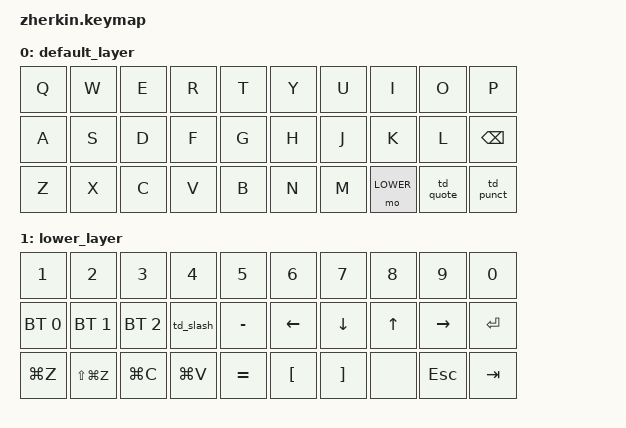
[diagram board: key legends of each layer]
#include <behaviors.dtsi>
#include <dt-bindings/zmk/keys.h>
#include <dt-bindings/zmk/bt.h>
#include <dt-bindings/zmk/outputs.h>


#define DEFAULT 0
#define LOWER 1

#define QUESTION_MARK LS(SLASH)
#define EXCLAMATION_MARK LS(N1)
#define PIPE LS(BSLH)
#define TILDE LS(GRAVE)

/ {
    behaviors {
        td_punct: td_punct {
            compatible = "zmk,behavior-tap-dance";
            #binding-cells = <0>;
            tapping-term-ms = <200>;
            bindings = <&kp DOT>, <&kp COMMA>, <&kp QUESTION_MARK>, <&kp EXCLAMATION_MARK>;
            // 1 tap: . (period)
            // 2 taps: , (comma)
            // 3 taps: ? (question mark, Shift + /)
            // 4 taps: ! (exclamation mark, Shift + 1)
        };
        td_quote: td_quote {
            compatible = "zmk,behavior-tap-dance";
            #binding-cells = <0>;
            tapping-term-ms = <200>;
            bindings = <&kp SQT>, <&kp DQT>, <&kp COLON>, <&kp SEMI>;
            // 1 tap: ' (single quote)
            // 2 taps: " (double quote)
            // 3 taps: : (colon)
            // 4 taps: ; (semicolon)
        };
        td_slash: td_slash {
            compatible = "zmk,behavior-tap-dance";
            #binding-cells = <0>;
            tapping-term-ms = <200>;
            bindings = <&kp SLASH>, <&kp BSLH>, <&kp PIPE>, <&kp TILDE>;
            // 1 tap: / (slash)
            // 2 taps: \ (backslash)
            // 3 taps: | (pipe, Shift + \)
            // 4 taps: ~ (tilde, Shift + grave)
        };

        combos {
            compatible = "zmk,combos";

            combo_shift {
                timeout-ms = <30>;
                key-positions = <19 29>;
                bindings = <&kp LSHIFT>;
            };

            combo_space_np {
                timeout-ms = <30>;
                key-positions = <25 9>;
                bindings = <&kp SPACE>;
            };
            combo_space_nm {
                timeout-ms = <30>;
                key-positions = <25 26>;
                bindings = <&kp SPACE>;
            };
            combo_space_bn {
                timeout-ms = <30>;
                key-positions = <24 25>;
                bindings = <&kp SPACE>;
            };
            combo_space_vb {
                timeout-ms = <30>;
                key-positions = <23 24>;
                bindings = <&kp SPACE>;
            };
        };
    };

    keymap {
        compatible = "zmk,keymap";


        default_layer {
            // --------------------------------------------------------------------------------------------------------------------------------------------------------------------
            // |   ESC   |    Q    |    W    |    E    |    R    |    T    |                                          |    Y    |    U    |    I    |    O    |    P    |    \    |
            // |   TAB   |    A    |    S    |    D    |    F    |    G    |                                          |    H    |    J    |    K    |    L    |    ;    |    '    |
            // |  SHIFT  |    Z    |    X    |    C    |    V    |    B    | CTRL+A  | CTRL+C  |  |  CTRL+V |  CTRL+X |    N    |    M    |    ,    |    .    |    /    |  R CTRL |
            //                               |   GUI   |   DEL   | RETURN  |  SPACE  | ESCAPE  |  |  RETURN |  SPACE  |   TAB   |   BSPC  |  R ALT  |

            bindings = <
&kp  Q	&kp  W	&kp  E	&kp  R	&kp  T	&kp  Y	&kp  U	&kp  I	&kp  O	&kp  P
&kp  A	&kp  S	&kp  D	&kp  F	&kp  G	&kp  H	&kp  J	&kp  K	&kp  L	&kp BSPC 
&kp  Z	&kp  X	&kp  C	&kp  V	&kp  B	&kp  N	&kp  M	&mo LOWER	    &td_quote	    &td_punct
            >;
        };

        lower_layer {
            bindings = <
&kp  N1	        &kp  N2	        &kp  N3	        &kp  N4	        &kp  N5		&kp  N6		&kp  N7	    &kp  N8	    &kp  N9	        &kp  N0
&bt BT_SEL 0	&bt BT_SEL 1	&bt BT_SEL 2	    &td_slash	    &kp  MINUS	&kp LEFT    &kp DOWN	&kp UP		&kp RIGHT	    &kp ENTER 
&kp LG(Z)	    &kp LS(LG(Z))	&kp LG(C)	    &kp LG(V)	    &kp  EQUAL	&kp  LBKT   &kp  RBKT	&none		&kp ESC		    &kp TAB
            >;
        };
    };
};
